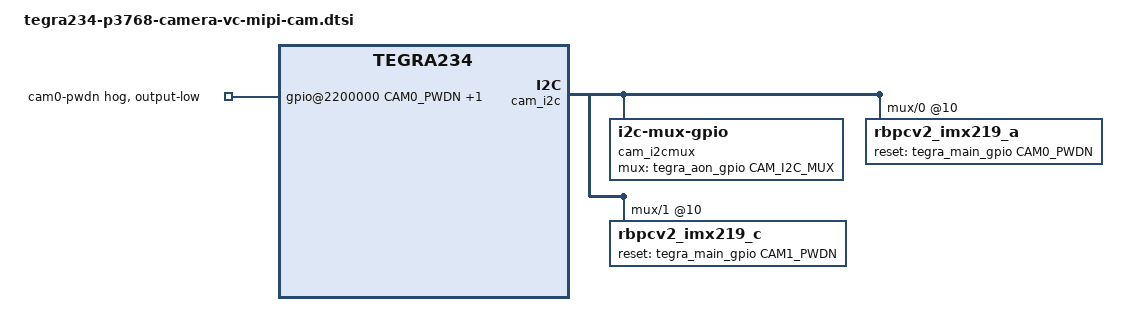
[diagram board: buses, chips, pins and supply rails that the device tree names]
/*
 * Copyright (c) 2022, NVIDIA CORPORATION.  All rights reserved.
 *
 * This program is free software; you can redistribute it and/or modify
 * it under the terms of the GNU General Public License as published by
 * the Free Software Foundation; either version 2 of the License, or
 * (at your option) any later version.
 *
 * This program is distributed in the hope that it will be useful, but WITHOUT
 * ANY WARRANTY; without even the implied warranty of MERCHANTABILITY or
 * FITNESS FOR A PARTICULAR PURPOSE.  See the GNU General Public License for
 * more details.
 *
 * You should have received a copy of the GNU General Public License
 * along with this program.  If not, see <http://www.gnu.org/licenses/>.
 */

#include "tegra234-camera-rbpcv2-imx219.dtsi"

#define CAM0_PWDN	TEGRA234_MAIN_GPIO(H, 6)
#define CAM1_PWDN	TEGRA234_MAIN_GPIO(AC, 0)
#define CAM_I2C_MUX 	TEGRA234_AON_GPIO(CC, 3)

/ {
	cam_i2cmux{
		status = "okay";
		compatible = "i2c-mux-gpio";
		#address-cells = <1>;
		#size-cells = <0>;
		i2c-parent = <&cam_i2c>;
		mux-gpios = <&tegra_aon_gpio CAM_I2C_MUX GPIO_ACTIVE_HIGH>;
		i2c@0 {
			status = "okay";
			reg = <0>;
			#address-cells = <1>;
			#size-cells = <0>;
			rbpcv2_imx219_a@10 {
				reset-gpios = <&tegra_main_gpio CAM0_PWDN GPIO_ACTIVE_HIGH>;
			};
		};
		i2c@1 {
			status = "okay";
			reg = <1>;
			#address-cells = <1>;
			#size-cells = <0>;
			rbpcv2_imx219_c@10 {
				reset-gpios = <&tegra_main_gpio CAM1_PWDN GPIO_ACTIVE_HIGH>;
			};
		};
	};

	gpio@2200000 {
		camera-control-output-low {
			gpio-hog;
			output-low;
			gpios = <CAM0_PWDN 0 CAM1_PWDN 0>;
			label = "cam0-pwdn","cam1-pwdn";
		};
	};
};
